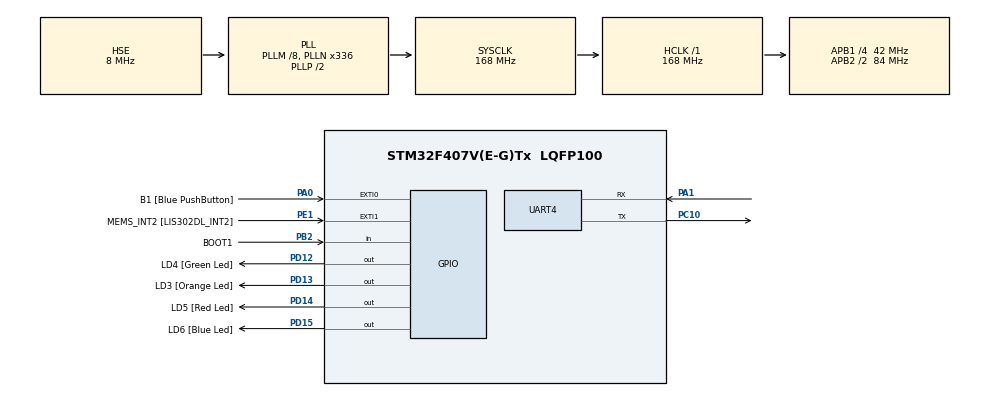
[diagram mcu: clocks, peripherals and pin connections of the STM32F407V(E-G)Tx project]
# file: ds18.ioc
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Mcu.Family=STM32F4
Mcu.Name=STM32F407V(E-G)Tx
Mcu.Package=LQFP100
NVIC.PriorityGroup=NVIC_PRIORITYGROUP_0
PA0-WKUP.GPIO_Label=B1 [Blue PushButton]
PA0-WKUP.GPIO_ModeDefaultEXTI=GPIO_MODE_EVT_RISING
PA0-WKUP.GPIO_PuPd=GPIO_NOPULL
PA0-WKUP.Signal=GPXTI0
PA1.Mode=Asynchronous
PA1.Signal=UART4_RX
PA13.GPIO_Label=SWDIO
PA13.Mode=Serial_Wire
PA13.Signal=SYS_JTMS-SWDIO
PA14.GPIO_Label=SWCLK
PA14.Mode=Serial_Wire
PA14.Signal=SYS_JTCK-SWCLK
PB2.GPIO_Label=BOOT1
PB2.GPIO_Mode=GPIO_MODE_INPUT
PB2.GPIO_PuPd=GPIO_NOPULL
PB2.Signal=GPIO_Input
PB3.Signal=SYS_JTDO-SWO
PC10.Mode=Asynchronous
PC10.Signal=UART4_TX
PC14-OSC32_IN.GPIO_Label=PC14-OSC32_IN
PC14-OSC32_IN.Mode=LSE-External-Oscillator
PC14-OSC32_IN.Signal=RCC_OSC32_IN
PC15-OSC32_OUT.GPIO_Label=PC15-OSC32_OUT
PC15-OSC32_OUT.Mode=LSE-External-Oscillator
PC15-OSC32_OUT.Signal=RCC_OSC32_OUT
PD12.GPIO_Label=LD4 [Green Led]
PD12.GPIO_PuPd=GPIO_NOPULL
PD12.GPIO_Speed=GPIO_SPEED_FREQ_LOW
PD12.Signal=GPIO_Output
PD13.GPIO_Label=LD3 [Orange Led]
PD13.GPIO_PuPd=GPIO_NOPULL
PD13.GPIO_Speed=GPIO_SPEED_FREQ_LOW
PD13.Signal=GPIO_Output
PD14.GPIO_Label=LD5 [Red Led]
PD14.GPIO_PuPd=GPIO_NOPULL
PD14.GPIO_Speed=GPIO_SPEED_FREQ_LOW
PD14.Signal=GPIO_Output
PD15.GPIO_Label=LD6 [Blue Led]
PD15.GPIO_PuPd=GPIO_NOPULL
PD15.GPIO_Speed=GPIO_SPEED_FREQ_LOW
PD15.Signal=GPIO_Output
PE1.GPIO_Label=MEMS_INT2 [LIS302DL_INT2]
PE1.GPIO_ModeDefaultEXTI=GPIO_MODE_EVT_RISING
PE1.GPIO_PuPd=GPIO_NOPULL
PE1.Signal=GPXTI1
PH0-OSC_IN.GPIO_Label=PH0-OSC_IN
PH0-OSC_IN.Mode=HSE-External-Oscillator
PH0-OSC_IN.Signal=RCC_OSC_IN
PH1-OSC_OUT.GPIO_Label=PH1-OSC_OUT
PH1-OSC_OUT.Mode=HSE-External-Oscillator
PH1-OSC_OUT.Signal=RCC_OSC_OUT
ProjectManager.HeapSize=0x200
ProjectManager.StackSize=0x400
ProjectManager.TargetToolchain=MDK-ARM V5
RCC.48MHZClocksFreq_Value=48000000
RCC.AHBFreq_Value=168000000
RCC.APB1CLKDivider=RCC_HCLK_DIV4
RCC.APB1Freq_Value=42000000
RCC.APB1TimFreq_Value=84000000
RCC.APB2CLKDivider=RCC_HCLK_DIV2
RCC.APB2Freq_Value=84000000
RCC.APB2TimFreq_Value=168000000
RCC.CortexFreq_Value=168000000
RCC.HCLKFreq_Value=168000000
RCC.HSE_VALUE=8000000
RCC.HSI_VALUE=16000000
RCC.PLLM=8
RCC.PLLN=336
RCC.PLLQ=7
RCC.PLLSourceVirtual=RCC_PLLSOURCE_HSE
RCC.SYSCLKFreq_VALUE=168000000
RCC.SYSCLKSource=RCC_SYSCLKSOURCE_PLLCLK
RCC.VCOOutputFreq_Value=336000000
UART4.VirtualMode=Asynchronous
board=STM32F407G-DISC1

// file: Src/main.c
/* USER CODE BEGIN Header */
/**
  ******************************************************************************
  * @file           : main.c
  * @brief          : Main program body
  ******************************************************************************
  * @attention
  *
  * <h2><center>&copy; Copyright (c) 2019 STMicroelectronics.
  * All rights reserved.</center></h2>
  *
  * This software component is licensed by ST under BSD 3-Clause license,
  * the "License"; You may not use this file except in compliance with the
  * License. You may obtain a copy of the License at:
  *                        opensource.org/licenses/BSD-3-Clause
  *
  ******************************************************************************
  */
/* USER CODE END Header */

#include "main.h"

/* USER CODE BEGIN Includes */
#include "string.h"
#include "stdio.h"
#include "stm32_onewire.h"
/* USER CODE END Includes */

UART_HandleTypeDef huart4;

void SystemClock_Config(void);
static void MX_GPIO_Init(void);
static void MX_UART4_Init(void);
/* USER CODE BEGIN PFP */
void Read_Rom(void);
void Get_Temp(float *array);
void debug(char *text);
/* USER CODE END PFP */

/* USER CODE BEGIN 0 */
TM_OneWire_t OneWire;

uint8_t	OneWireDevices;
uint8_t TempSensorCount=0;
uint8_t address[8][8];
int status = 0;
uint8_t crc[2];
uint8_t result;
int i, pass;
uint8_t data[24] = {0x10, 0x02, 0x18, 0x12, 0x34, 0x05, 0x20, 0x06, 0x17, 0x02, 0x10, 0x19, 0x00, 0x10, 0x00, 0x00, 0x00, 0x00, 0x00, 0x00, 0x00, 0x00, 0x00, 0x01};
uint8_t check[24];
uint8_t temp[9];
float sensor[2];
char buffer[30];
/* USER CODE END 0 */

int main(void)
{

  /* MCU Configuration--------------------------------------------------------*/

  /* Reset of all peripherals, Initializes the Flash interface and the Systick. */
  HAL_Init();

  /* Configure the system clock */
  SystemClock_Config();

  /* Initialize all configured peripherals */
  MX_GPIO_Init();
  MX_UART4_Init();
  /* USER CODE BEGIN 2 */
	debug("\n\r-----Ready-----\n\r");
	TM_OneWire_Init(&OneWire, GPIOA, GPIO_PIN_3);
	Read_Rom();
	Get_Temp(sensor);
	sprintf(buffer, "\n\rTemp: %f\n\r", sensor[0]);
	debug(buffer);
  /* USER CODE END 2 */

  /* Infinite loop */
  while (1)
  {

    /* USER CODE BEGIN 3 */
		HAL_GPIO_TogglePin(LD3_GPIO_Port, LD3_Pin);
		HAL_Delay(500);
		/*sprintf(buffer, "\n\rTemp: %.3f\n\r", Get_Temp());
		HAL_UART_Transmit(&huart4, (uint8_t*)buffer, strlen(buffer), 100);*/
  }
  /* USER CODE END 3 */
}

void SystemClock_Config(void)
{
  RCC_OscInitTypeDef RCC_OscInitStruct = {0};
  RCC_ClkInitTypeDef RCC_ClkInitStruct = {0};

  /** Configure the main internal regulator output voltage
  */
  __HAL_RCC_PWR_CLK_ENABLE();
  __HAL_PWR_VOLTAGESCALING_CONFIG(PWR_REGULATOR_VOLTAGE_SCALE1);
  /** Initializes the CPU, AHB and APB busses clocks
  */
  RCC_OscInitStruct.OscillatorType = RCC_OSCILLATORTYPE_HSE;
  RCC_OscInitStruct.HSEState = RCC_HSE_ON;
  RCC_OscInitStruct.PLL.PLLState = RCC_PLL_ON;
  RCC_OscInitStruct.PLL.PLLSource = RCC_PLLSOURCE_HSE;
  RCC_OscInitStruct.PLL.PLLM = 8;
  RCC_OscInitStruct.PLL.PLLN = 336;
  RCC_OscInitStruct.PLL.PLLP = RCC_PLLP_DIV2;
  RCC_OscInitStruct.PLL.PLLQ = 7;
  if (HAL_RCC_OscConfig(&RCC_OscInitStruct) != HAL_OK)
  {
    Error_Handler();
  }
  /** Initializes the CPU, AHB and APB busses clocks
  */
  RCC_ClkInitStruct.ClockType = RCC_CLOCKTYPE_HCLK|RCC_CLOCKTYPE_SYSCLK
                              |RCC_CLOCKTYPE_PCLK1|RCC_CLOCKTYPE_PCLK2;
  RCC_ClkInitStruct.SYSCLKSource = RCC_SYSCLKSOURCE_PLLCLK;
  RCC_ClkInitStruct.AHBCLKDivider = RCC_SYSCLK_DIV1;
  RCC_ClkInitStruct.APB1CLKDivider = RCC_HCLK_DIV4;
  RCC_ClkInitStruct.APB2CLKDivider = RCC_HCLK_DIV2;

  if (HAL_RCC_ClockConfig(&RCC_ClkInitStruct, FLASH_LATENCY_5) != HAL_OK)
  {
    Error_Handler();
  }
}

static void MX_UART4_Init(void)
{

  huart4.Instance = UART4;
  huart4.Init.BaudRate = 115200;
  huart4.Init.WordLength = UART_WORDLENGTH_8B;
  huart4.Init.StopBits = UART_STOPBITS_1;
  huart4.Init.Parity = UART_PARITY_NONE;
  huart4.Init.Mode = UART_MODE_TX_RX;
  huart4.Init.HwFlowCtl = UART_HWCONTROL_NONE;
  huart4.Init.OverSampling = UART_OVERSAMPLING_16;
  if (HAL_UART_Init(&huart4) != HAL_OK)
  {
    Error_Handler();
  }

}

static void MX_GPIO_Init(void)
{
  GPIO_InitTypeDef GPIO_InitStruct = {0};

  /* GPIO Ports Clock Enable */
  __HAL_RCC_GPIOC_CLK_ENABLE();
  __HAL_RCC_GPIOH_CLK_ENABLE();
  __HAL_RCC_GPIOA_CLK_ENABLE();
  __HAL_RCC_GPIOB_CLK_ENABLE();
  __HAL_RCC_GPIOD_CLK_ENABLE();
  __HAL_RCC_GPIOE_CLK_ENABLE();

  /*Configure GPIO pin Output Level */
  HAL_GPIO_WritePin(GPIOD, LD4_Pin|LD3_Pin|LD5_Pin|LD6_Pin, GPIO_PIN_RESET);

  /*Configure GPIO pin : B1_Pin */
  GPIO_InitStruct.Pin = B1_Pin;
  GPIO_InitStruct.Mode = GPIO_MODE_EVT_RISING;
  GPIO_InitStruct.Pull = GPIO_NOPULL;
  HAL_GPIO_Init(B1_GPIO_Port, &GPIO_InitStruct);

  /*Configure GPIO pin : BOOT1_Pin */
  GPIO_InitStruct.Pin = BOOT1_Pin;
  GPIO_InitStruct.Mode = GPIO_MODE_INPUT;
  GPIO_InitStruct.Pull = GPIO_NOPULL;
  HAL_GPIO_Init(BOOT1_GPIO_Port, &GPIO_InitStruct);

  /*Configure GPIO pins : LD4_Pin LD3_Pin LD5_Pin LD6_Pin */
  GPIO_InitStruct.Pin = LD4_Pin|LD3_Pin|LD5_Pin|LD6_Pin;
  GPIO_InitStruct.Mode = GPIO_MODE_OUTPUT_PP;
  GPIO_InitStruct.Pull = GPIO_NOPULL;
  GPIO_InitStruct.Speed = GPIO_SPEED_FREQ_LOW;
  HAL_GPIO_Init(GPIOD, &GPIO_InitStruct);

  /*Configure GPIO pin : MEMS_INT2_Pin */
  GPIO_InitStruct.Pin = MEMS_INT2_Pin;
  GPIO_InitStruct.Mode = GPIO_MODE_EVT_RISING;
  GPIO_InitStruct.Pull = GPIO_NOPULL;
  HAL_GPIO_Init(MEMS_INT2_GPIO_Port, &GPIO_InitStruct);

}

/* USER CODE BEGIN 4 */
void debug(char *text)
{
	HAL_UART_Transmit(&huart4, (uint8_t*)text, strlen(text), 100);
}

void Read_Rom(void)
{
	OneWireDevices = TM_OneWire_First(&OneWire);
	while (OneWireDevices)
	{
		HAL_Delay(100);
		TM_OneWire_GetFullROM(&OneWire, &address[TempSensorCount][0]);
		TempSensorCount++;
		OneWireDevices = TM_OneWire_Next(&OneWire);
	}
	sprintf(buffer, "\n\r%d sensors found", TempSensorCount);
	debug(buffer);
	for (uint8_t index = 0; index < TempSensorCount; index++)
	{
		debug("\n\rRom: ");
		for (i = 0; i < 8; i++) { // we need 144 bytes for memory
			sprintf(buffer, "%x ", address[index][i]);
			debug(buffer);
		}
	}
}

void Get_Temp(float *array)
{
	for (uint8_t index = 0; index < TempSensorCount; index++)
	{
		TM_OneWire_Reset(&OneWire);
		TM_OneWire_Select(&OneWire, address[index]);
		debug("\n\rRead Scratch: ");
		TM_OneWire_WriteByte(&OneWire, 0x44); // Read Scratch
		TM_OneWire_Reset(&OneWire);
		TM_OneWire_Select(&OneWire, address[index]);
		TM_OneWire_WriteByte(&OneWire, 0xBE); // Read Scratch
		for (i = 0; i < 9; i++) { // we need 9 bytes for memory
			temp[i] = TM_OneWire_ReadByte(&OneWire);
			sprintf(buffer, "%x ", temp[i]);
			debug(buffer);
		}
		uint8_t MSB = temp[1];
		uint8_t LSB = temp[0];

		float tempRead = ((MSB << 8) | LSB); //using two's compliment
		float TemperatureSum = tempRead / 16;
		array[index] = TemperatureSum;
	}
}
/* USER CODE END 4 */

void Error_Handler(void)
{
}

/************************ (C) COPYRIGHT STMicroelectronics *****END OF FILE****/
